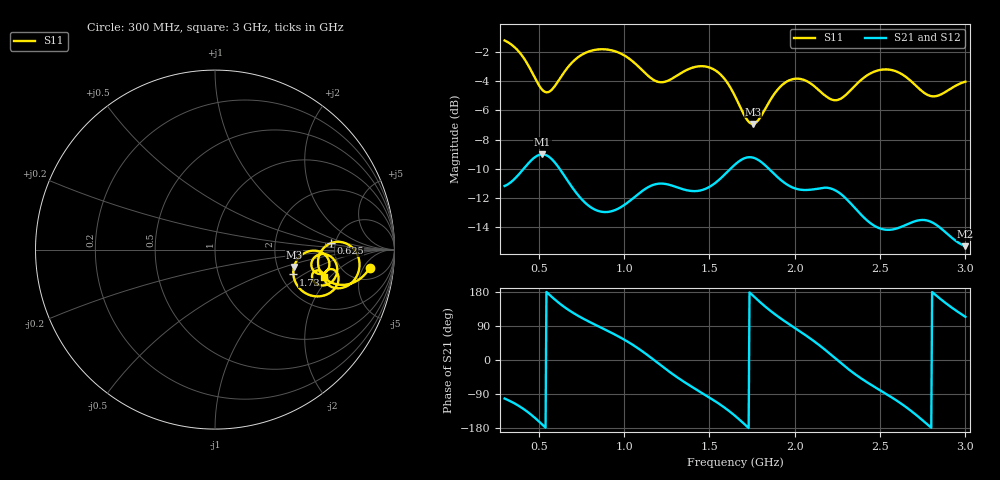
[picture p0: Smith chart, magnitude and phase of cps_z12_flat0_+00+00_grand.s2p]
! cps_z12_flat0_+00+00_grand
! simulated by sim/fixtures_fdtd.py (S12 = S21, S22 not computed)
# HZ S RI R 50
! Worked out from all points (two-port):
!   541 points, 300 MHz to 3 GHz, reference 50 ohm
!   highest |S21| = -9.00 dB at 520 MHz (marker M1); lowest = -15.3 dB at 3 GHz (marker M2)
!   |S21| within 3 dB of the highest: start of sweep to 746.2 MHz; 1.053 GHz to 2.299 GHz (1.246 GHz wide, 74.4 % of centre)
!   lowest |S11| = -6.9 dB at 1.755 GHz (marker M3), VSWR 2.64, Z = 123 - j30 ohm
!   |S11| at or under -10 dB: nowhere
!   |S22| runs from - to - dB; largest |S21 - S12| = 0
!   S11 on the Smith chart (normalised r, x): 300 MHz: 8, -7; 625 MHz: 4.56, +0.55; 1.73 GHz: 2.35, -0.82; 3 GHz: 3.42, -1.75
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3e8  0.8626 -0.1003  -0.0559 -0.2709  -0.0559 -0.2709  0 0
4.25e8  0.7096 -0.1967  -0.2235 -0.2336  -0.2235 -0.2336  0 0
5.2e8  0.5799 -0.107  -0.3493 -0.0614  -0.3493 -0.0614  0 0
6.25e8  0.6439 0.0351  -0.2678 0.1657  -0.2678 0.1657  0 0
7.5e8  0.7746 0.00122  -0.0923 0.232  -0.0923 0.232  0 0
8.85e8  0.8021 -0.1133  0.0352 0.2225  0.0352 0.2225  0 0
1.025e9  0.7275 -0.2071  0.1653 0.1791  0.1653 0.1791  0 0
1.2e9  0.6082 -0.1524  0.2783 -0.0421  0.2783 -0.0421  0 0
1.305e9  0.6469 -0.1086  0.1984 -0.1895  0.1984 -0.1895  0 0
1.42e9  0.6884 -0.1566  0.0597 -0.2588  0.0597 -0.2588  0 0
1.555e9  0.625 -0.2493  -0.1225 -0.2626  -0.1225 -0.2626  0 0
1.65e9  0.5049 -0.2433  -0.2753 -0.1771  -0.2753 -0.1771  0 0
1.73e9  0.4369 -0.1382  -0.3467 -0.00282  -0.3467 -0.00282  0 0
1.755e9  0.4401 -0.0969  -0.3404 0.0602  -0.3404 0.0602  0 0
1.895e9  0.5853 -0.0119  -0.1355 0.2655  -0.1355 0.2655  0 0
2.1e9  0.6007 -0.134  0.1586 0.217  0.1586 0.217  0 0
2.26e9  0.5428 -0.0588  0.2616 -0.0196  0.2616 -0.0196  0 0
2.38e9  0.6293 -0.0302  0.1558 -0.1601  0.1558 -0.1601  0 0
2.55e9  0.6762 -0.1414  -0.0121 -0.1955  -0.0121 -0.1955  0 0
2.67e9  0.6073 -0.1994  -0.1329 -0.1572  -0.1329 -0.1572  0 0
2.78e9  0.542 -0.1609  -0.2079 -0.0328  -0.2079 -0.0328  0 0
3e9  0.6088 -0.1545  -0.0697 0.1575  -0.0697 0.1575  0 0
